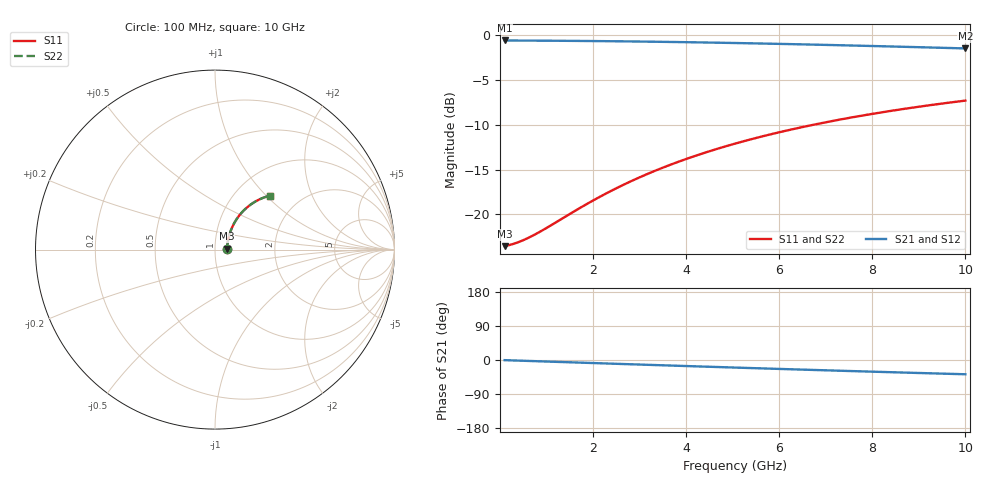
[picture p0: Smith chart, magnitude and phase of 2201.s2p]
# Hz S RI R 50.00
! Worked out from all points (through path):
!   100 points, 100 MHz to 10 GHz, reference 50 ohm
!   highest |S21| = -0.60 dB at 100 MHz (marker M1); lowest = -1.5 dB at 10 GHz (marker M2)
!   group delay of S21, straight-line fit = 10.5 ps
!   lowest |S11| = -23.5 dB at 100 MHz (marker M3), VSWR 1.14, Z = 57.1 + j0.513 ohm
!   |S11| at or under -10 dB: start of sweep to 6.734 GHz
!   |S22| runs from -23.5 to -7.3 dB; largest |S21 - S12| = 0
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1e8  0.0664 0.00447  0.9336 -0.00658  0.9336 -0.00658  0.0664 0.00447
3e8  0.0674 0.0134  0.9326 -0.0197  0.9326 -0.0197  0.0674 0.0134
4e8  0.0678 0.0178  0.9321 -0.0263  0.9321 -0.0263  0.0678 0.0178
5e8  0.0683 0.0223  0.9316 -0.0328  0.9316 -0.0328  0.0683 0.0223
7e8  0.0694 0.0311  0.9305 -0.0459  0.9305 -0.0459  0.0694 0.0311
1e9  0.0714 0.0443  0.9283 -0.0654  0.9283 -0.0654  0.0714 0.0443
1.8e9  0.0792 0.0789  0.9201 -0.1169  0.9201 -0.1169  0.0792 0.0789
2.2e9  0.0844 0.0958  0.9145 -0.1422  0.9145 -0.1422  0.0844 0.0958
2.6e9  0.0904 0.1122  0.908 -0.1671  0.908 -0.1671  0.0904 0.1122
3e9  0.0974 0.1282  0.9005 -0.1916  0.9005 -0.1916  0.0974 0.1282
3.4e9  0.1051 0.1437  0.8921 -0.2156  0.8921 -0.2156  0.1051 0.1437
3.8e9  0.1137 0.1587  0.8829 -0.239  0.8829 -0.239  0.1137 0.1587
4.2e9  0.1229 0.1731  0.8729 -0.2619  0.8729 -0.2619  0.1229 0.1731
4.6e9  0.1329 0.1869  0.8621 -0.2842  0.8621 -0.2842  0.1329 0.1869
5.1e9  0.1462 0.2031  0.8477 -0.3111  0.8477 -0.3111  0.1462 0.2031
5.5e9  0.1576 0.2154  0.8353 -0.3319  0.8353 -0.3319  0.1576 0.2154
5.9e9  0.1694 0.2269  0.8224 -0.3519  0.8224 -0.3519  0.1694 0.2269
6.7e9  0.1945 0.2477  0.795 -0.3898  0.795 -0.3898  0.1945 0.2477
7.5e9  0.221 0.2654  0.7658 -0.4247  0.7658 -0.4247  0.221 0.2654
8.4e9  0.252 0.2817  0.7313 -0.4604  0.7313 -0.4604  0.252 0.2817
9.2e9  0.2802 0.2929  0.6996 -0.489  0.6996 -0.489  0.2802 0.2929
1e10  0.3087 0.3012  0.6674 -0.5147  0.6674 -0.5147  0.3087 0.3012
